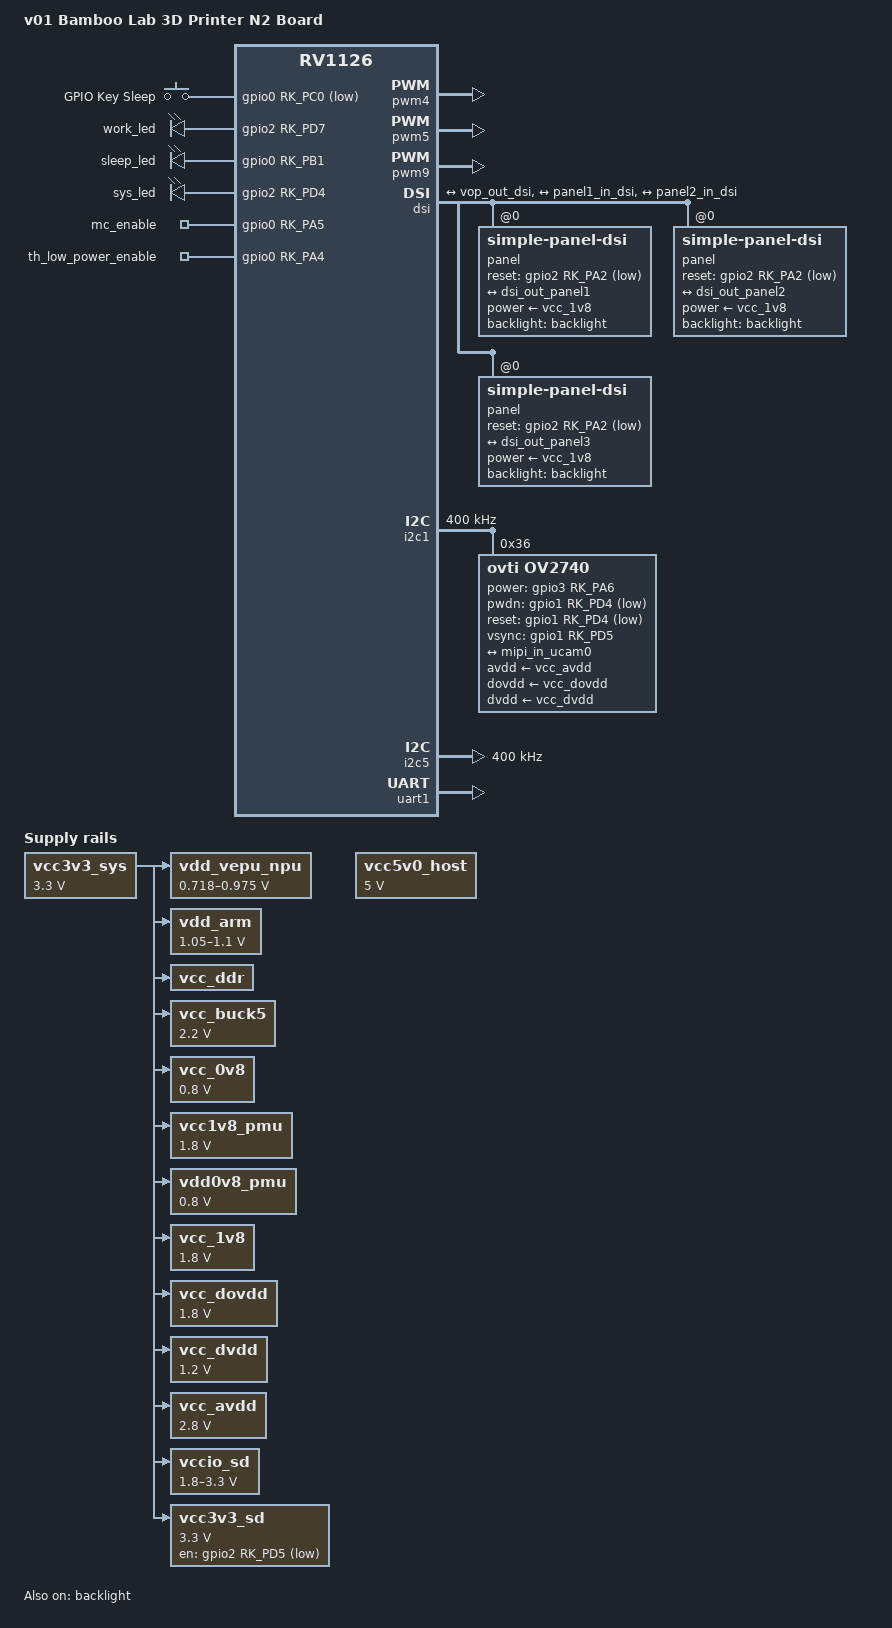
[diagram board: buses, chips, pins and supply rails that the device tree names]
// SPDX-License-Identifier: (GPL-2.0+ OR MIT)
/*
 * Copyright (c) 2020 Rockchip Electronics Co., Ltd.
 */
/dts-v1/;

/*
 * how to add a new panel
 * 		add "panel@N" node in dsi, such as panel@3
 *		  specify status = "disabled"; adc = <adc_of_version>;
 *		  specify timing3
 *		  specify port in panel@3-ports: reg = <1>(fixed)
 * 		  specify panel3_in_dsi in panel@3-ports, note!!: must match with port in dsi-ports
 *		  specify panel@3-reg = <0>(fixed, mean input device)
 *		  specify esd_power_value and esd_power_cmd, the value used in panel-simple.c
 *		add port@3 in dsi-ports
 * 		  specify reg, note!!: must different from other ports, and should be [1, 5](kernel driver only support max 5)
*/

#include "rv1126.dtsi"
#include "rv1126-n2-base.dtsi"
/ {
	model = "v01 Bamboo Lab 3D Printer N2 Board";
	compatible = "rockchip,rv1126";

	chosen {
		bootargs = "earlycon=uart8250,mmio32,0xff570000 console=ttyFIQ0 root=PARTUUID=614e0000-0000 rootfstype=ext4 rootwait snd_aloop.index=7 board=N2 hw=v1";
	};

	gpio-keys {
		compatible = "gpio-keys";
		#address-cells = <1>;
		#size-cells = <0>;

		sleep {
			gpios = <&gpio0 RK_PC0 GPIO_ACTIVE_LOW>;
			linux,code = <KEY_SLEEP>;
			label = "GPIO Key Sleep";
			linux,input-type = <1>;
			gpio-key,wakeup = <1>;
			debounce-interval = <100>;
			pinctrl-names = "default";
			pinctrl-0 = <&sleep_pin>;
		};
	};

	gpio-leds {
		compatible = "gpio-leds";

		work_led {
			gpios = <&gpio2 RK_PD7 GPIO_ACTIVE_HIGH>;
			linux,default-trigger = "timer";
		};

		sleep_led {
			gpios = <&gpio0 RK_PB1 GPIO_ACTIVE_HIGH>;
			linux,default-trigger = "none";
		};

		sys_led {
			gpios = <&gpio2 RK_PD4 GPIO_ACTIVE_HIGH>;
			linux,default-trigger = "none";
		};

		mc_enable {
			gpios = <&gpio0 RK_PA5 GPIO_ACTIVE_HIGH>;
			linux,default-trigger = "none";
		};

		th_low_power_enable {
			gpios = <&gpio0 RK_PA4 GPIO_ACTIVE_HIGH>;
			linux,default-trigger = "none";
		};
	};

	vdd_vepu_npu: vdd_vepus_npu {
		status = "okay";
		compatible = "pwm-regulator";
		rockchip,pwm_id = <4>;
		rockchip,pwm_voltage = <975000>; 	// 0.824V, used in uboot stage
		pwms = <&pwm4 0 25000 1>;			// pwm_id, channel, cycle(ns), polarity
		regulator-name = "vdd_vepu_npu";
		regulator-min-microvolt = <718000>; // 0.718V
		regulator-max-microvolt = <975000>; // 0.975V
		regulator-init-microvolt = <975000>;
		regulator-always-on;
		regulator-boot-on;
		pwm-supply = <&vcc3v3_sys>;
	};

	vdd_arm: vdd_arm {
		status = "okay";
		compatible = "pwm-regulator";
		rockchip,pwm_voltage = <1100000>;
		pwms = <&pwm5 0 25000 1>;
		regulator-name = "vdd_arm";
		regulator-min-microvolt = <1050000>;
		regulator-max-microvolt = <1100000>;
		regulator-init-microvolt = <1100000>;
		regulator-always-on;
		regulator-boot-on;
		pwm-supply = <&vcc3v3_sys>;
	};

	vcc_ddr: vcc_ddr {
		status = "okay";
		compatible = "regulator-fixed";
		regulator-name = "vcc_ddr";
		regulator-always-on;
		regulator-boot-on;
		// regulator-min-microvolt = <5000000>; // not set in p001-v3
		// regulator-max-microvolt = <5000000>;
		vin-supply = <&vcc3v3_sys>;
	};

	vcc3v3_sys: vcc3v3_sys {
		status = "okay";
		compatible = "regulator-fixed";
		regulator-name = "vcc3v3_sys";
		regulator-always-on;
		regulator-boot-on;
		regulator-min-microvolt = <3300000>;
		regulator-max-microvolt = <3300000>;
	};

	vcc_buck5: vcc_buck5 {
		status = "okay";
		compatible = "regulator-fixed";
		regulator-name = "vcc_buck5";
		regulator-always-on;
		regulator-boot-on;
		regulator-min-microvolt = <2200000>;
		regulator-max-microvolt = <2200000>;
		vin-supply = <&vcc3v3_sys>;
	};

	vcc_0v8: vcc_0v8 {
		status = "okay";
		compatible = "regulator-fixed";
		regulator-name = "vcc_0v8";
		regulator-always-on;
		regulator-boot-on;
		regulator-min-microvolt = <800000>;
		regulator-max-microvolt = <800000>;
		vin-supply = <&vcc3v3_sys>;
	};

	vcc1v8_pmu: vcc1v8_pmu {
		status = "okay";
		compatible = "regulator-fixed";
		regulator-name = "vcc1v8_pmu";
		regulator-always-on;
		regulator-boot-on;
		regulator-min-microvolt = <1800000>;
		regulator-max-microvolt = <1800000>;
		vin-supply = <&vcc3v3_sys>;
	};

	vdd0v8_pmu: vdd0v8_pmu {
		status = "okay";
		compatible = "regulator-fixed";
		regulator-name = "vdd0v8_pmu";
		regulator-always-on;
		regulator-boot-on;
		regulator-min-microvolt = <800000>;
		regulator-max-microvolt = <800000>;
		vin-supply = <&vcc3v3_sys>;
	};

	vcc_1v8: vcc_1v8 {
		status = "okay";
		compatible = "regulator-fixed";
		regulator-name = "vcc_1v8";
		regulator-always-on;
		regulator-boot-on;
		regulator-min-microvolt = <1800000>;
		regulator-max-microvolt = <1800000>;
		vin-supply = <&vcc3v3_sys>;
	};

	vcc_dovdd: vcc_dovdd {
		status = "okay";
		compatible = "regulator-fixed";
		regulator-name = "vcc_dovdd";
		regulator-always-on;
		regulator-boot-on;
		regulator-min-microvolt = <1800000>;
		regulator-max-microvolt = <1800000>;
		vin-supply = <&vcc3v3_sys>;
	};

	vcc_dvdd: vcc_dvdd {
		status = "okay";
		compatible = "regulator-fixed";
		regulator-name = "vcc_dvdd";
		regulator-always-on;
		regulator-boot-on;
		regulator-min-microvolt = <1200000>;
		regulator-max-microvolt = <1200000>;
		vin-supply = <&vcc3v3_sys>;
	};

	vcc_avdd: vcc_avdd {
		status = "okay";
		compatible = "regulator-fixed";
		regulator-name = "vcc_avdd";
		regulator-always-on;
		regulator-boot-on;
		regulator-min-microvolt = <2800000>;
		regulator-max-microvolt = <2800000>;
		vin-supply = <&vcc3v3_sys>;
	};

	vccio_sd: vccio_sd {
		status = "okay";
		compatible = "regulator-gpio";
		regulator-name = "vccio_sd";
		regulator-min-microvolt = <1800000>;
		regulator-max-microvolt = <3300000>;
		gpios = <&gpio3 RK_PA7 GPIO_ACTIVE_HIGH>;
		states = <3300000 0
			  1800000 1>;
		vin-supply = <&vcc3v3_sys>;
	};

	vcc3v3_sd: vcc3v3_sd {
		status = "okay";
		compatible = "regulator-fixed";
		gpio = <&gpio2 RK_PD5 GPIO_ACTIVE_LOW>;
		pinctrl-names = "default";
		pinctrl-0 = <&sdmmc_pwr>;
		regulator-name = "vcc3v3_sd";
		regulator-min-microvolt = <3300000>;
		regulator-max-microvolt = <3300000>;
		startup-delay-us = <100000>;
		vin-supply = <&vcc3v3_sys>;
	};

	vcc5v0_host: vcc5v0_host {
		status = "okay";
		compatible = "regulator-fixed";
		regulator-name = "vcc5v0_host";
		regulator-always-on;
		regulator-boot-on;
		regulator-min-microvolt = <5000000>;
		regulator-max-microvolt = <5000000>;
	};

	vcc_3v3: vcc_3v3 {
		status = "okay";
		regulator-always-on;
		regulator-boot-on;
		regulator-name = "vcc_3v3";
		vin-supply = <&vcc3v3_sys>;
	};
};

&pinctrl {
	lcd_rst {
		lcd_rst_gpio: lcd-rst-gpio {
			rockchip,pins = <2 RK_PA2 RK_FUNC_GPIO &pcfg_pull_none>;
		};
	};

	touth_panel {
		pinctrl_tlsc6x: pinctrl_tlsc6x {
			rockchip,pins =
				/* tp rst */
				<2 RK_PB2 RK_FUNC_GPIO &pcfg_pull_up>,
				/* tp int */
				<0 RK_PB5 RK_FUNC_GPIO &pcfg_pull_up>;
		};
	};

	buttons {
		sleep_pin: sleep_pin {
			rockchip,pins = <0 RK_PC0 RK_FUNC_GPIO &pcfg_pull_up>;
		};
	};

	leds {
		work_led_pin: work_led_pin {
			rockchip,pins = <2 RK_PD7 RK_FUNC_GPIO &pcfg_pull_down>;
		};

		sleep_led_pin: sleep_led_pin{
			rockchip,pins = <0 RK_PB1 RK_FUNC_GPIO &pcfg_pull_down>;
		};

		sys_led_pin: sys_led_pin {
			rockchip,pins = <2 RK_PD4 RK_FUNC_GPIO &pcfg_pull_down>;
		};

		vccio_sd_ctrl: vccio_sd_ctrl{
			rockchip,pins = <3 RK_PA7 RK_FUNC_GPIO &pcfg_pull_up>;
		};
	};

	sdmmc-pwr {
		/omit-if-no-ref/
		sdmmc_pwr: sdmmc-pwr {
			rockchip,pins = <2 RK_PD5 RK_FUNC_GPIO &pcfg_pull_none>;
		};
	};

	mcu_ctrls {
		mc_enable_pin: mc_enable_pin{
			rockchip,pins = <0 RK_PA5 RK_FUNC_GPIO &pcfg_pull_down>;
		};

		th_low_power_enable_pin: th_low_power_enable_pin{
			rockchip,pins = <0 RK_PA4 RK_FUNC_GPIO &pcfg_pull_down>;
		};
	};
};

&pwm4 {
	status = "okay";
	pinctrl-names = "active";
	pinctrl-0 = <&pwm4m0_pins_pull_down>;
};

&pwm5 {
	status = "okay";
	pinctrl-names = "active";
	pinctrl-0 = <&pwm5m0_pins_pull_down>;
};

&pwm9 {
	status = "okay";
	pinctrl-names = "active";
	pinctrl-0 = <&pwm9m1_pins_pull_down>;
};

&backlight {
	status = "okay";
	default-on;
	// compatible = "gpio-backlight";
	// gpios = <&gpio2 RK_PA7 GPIO_ACTIVE_LOW>;
	compatible = "pwm-backlight";
	pwms = <&pwm9 0 25000 0>;
	pwm-names = "backlight";
	enable-gpios = <&gpio1 RK_PD7 GPIO_ACTIVE_HIGH>;
};

&dsi {
	status = "okay";

	rockchip,lane-rate = <480>;

	panel@1 {
		status = "okay";
		tp-node = <&tlsc6x_ts>;
		id-regs-len = <3>;
		id-regs = <0xda 0xdb 0xdc>;
		id-targets = <0xab 0xcd 0xef>; // fake
		adc = <853>;			// 1.5v = 853
		esd_power_value = <0>; // todo
		esd_power_cmd = <0>;   // todo
		compatible = "simple-panel-dsi";
		reg = <0>;
		backlight = <&backlight>;
		power-supply = <&vcc_1v8>;
		prepare-delay-ms = <5>;
		reset-delay-ms = <1>;
		init-delay-ms = <120>;
		disable-delay-ms = <10>;
		unprepare-delay-ms = <5>;

		reset-gpios = <&gpio2 RK_PA2 GPIO_ACTIVE_LOW>;
		pinctrl-names = "default";
		pinctrl-0 = <&lcd_rst_gpio>;

		width-mm = <62>;
		height-mm = <110>;

		dsi,flags = <(MIPI_DSI_MODE_VIDEO | MIPI_DSI_MODE_VIDEO_BURST |
				  MIPI_DSI_MODE_LPM | MIPI_DSI_MODE_EOT_PACKET)>;
		dsi,format = <MIPI_DSI_FMT_RGB888>;
		dsi,lanes = <2>;

		panel-init-sequence = [
			39 00 06 F0 55 aa 52 08 00
			39 00 03 F6 5A 87
			15 00 02 c1 3f
			15 00 02 c2 0e
			15 00 02 c6 f8
			15 00 02 c9 10
			15 00 02 cd 25
			39 00 04 87 04 03 66
			15 00 02 f8 8A
			15 00 02 AC 65
			15 00 02 a7 47
			15 00 02 A0 DD
			39 00 05 FA 08 08 00 00
			39 00 05 86 99 A3 A3 51
			15 00 02 A3 2e
			39 00 04 FD 28 3c 00
			15 00 02 71 48
			15 00 02 72 48
			39 00 03 73 00 04
			15 00 02 97 EE
			15 00 02 9A 68
			15 00 02 9B 38
			39 00 03 82 40 40
			15 00 02 B1 10
			39 00 03 7A 13 1a
			39 00 03 7B 13 1a
			39 00 21 6d 00 1D 10 0F 08 1F 1E 1e 1e 1e 1e 1e 1e 1e 1e 1e 1e 1e 1e 1e 1e 1e 1e 1e 1e 1E 1F 01 0A 09 1D 00
			39 00 09 60 18 05 2E 7A 18 02 2E 7A
			39 00 09 63 18 02 2E 7A 18 04 2E 7A
			39 00 11 64 18 04 03 58 03 03 18 02 03 5A 03 03 2E 7A 2E 7A
			39 00 11 67 18 01 03 5B 03 03 18 03 03 59 03 03 2E 7A 2E 7A
			39 00 08 69 14 22 14 22 44 22 08
			39 00 35 D1 00 00 00 20 00 53 00 76 00 93 00 C0 00 E5 01 1E 01 4D 01 98 01 D4 02 32 02 7E 02 80 02 C5 03 11 03 40 03 82 03 A5 03 BC 03 CB 03 DF 03 E9 03 F6 03 FD 03 FF
			39 00 35 D2 00 00 00 20 00 53 00 76 00 93 00 C0 00 E5 01 1E 01 4D 01 98 01 D4 02 32 02 7E 02 80 02 C5 03 11 03 40 03 82 03 A5 03 BC 03 CB 03 DF 03 E9 03 F6 03 FD 03 FF
			39 00 35 D3 00 00 00 20 00 53 00 76 00 93 00 C0 00 E5 01 1E 01 4D 01 98 01 D4 02 32 02 7E 02 80 02 C5 03 11 03 40 03 82 03 A5 03 BC 03 CB 03 DF 03 E9 03 F6 03 FD 03 FF
			39 00 35 D4 00 00 00 20 00 53 00 76 00 93 00 C0 00 E5 01 1E 01 4D 01 98 01 D4 02 32 02 7E 02 80 02 C5 03 11 03 40 03 82 03 A5 03 BC 03 CB 03 DF 03 E9 03 F6 03 FD 03 FF
			39 00 35 D5 00 00 00 20 00 53 00 76 00 93 00 C0 00 E5 01 1E 01 4D 01 98 01 D4 02 32 02 7E 02 80 02 C5 03 11 03 40 03 82 03 A5 03 BC 03 CB 03 DF 03 E9 03 F6 03 FD 03 FF
			39 00 35 D6 00 00 00 20 00 53 00 76 00 93 00 C0 00 E5 01 1E 01 4D 01 98 01 D4 02 32 02 7E 02 80 02 C5 03 11 03 40 03 82 03 A5 03 BC 03 CB 03 DF 03 E9 03 F6 03 FD 03 FF
			05 78 01 11
			05 64 01 29
			];

		panel-exit-sequence = [
			39 00 06 F0 55 aa 52 08 00
			23 00 03 F6 5a 87
			23 00 02 C2 ce
			23 00 02 C3 cd
			23 00 02 C6 fc
			23 00 02 C5 03
			23 00 02 CD 64
			23 00 02 C4 ff
			23 00 02 C9 cd
			23 14 02 6C 60
			23 00 02 B1 00
			39 14 05 FA 7F 00 00 00
			23 0A 02 6C 50
			23 32 02 28 00
			23 14 02 10 00
			23 00 04 FD aa aa 0a
			23 00 03 FE 6a 0a
			23 00 03 78 2a aa
			23 00 03 92 17 08
			23 00 03 77 aa 2a
			23 00 03 76 aa aa
			23 00 02 84 00
			23 00 03 78 2b ba
			23 00 02 89 73
			23 00 02 88 3A
			23 00 02 85 B0
			23 00 03 76 eb aa
			23 00 02 94 80
			23 00 04 87 04 07 30
			23 00 02 93 27
			23 00 02 AF 02
			];

		display-timings {
			native-mode = <&timing1>;

			timing1: timing1 {
				clock-frequency = <29007000>;
				hactive = <480>;
				vactive = <854>;
				hfront-porch = <30>;
				hsync-len = <10>;
				hback-porch = <30>;
				vfront-porch = <8>;
				vsync-len = <2>;
				vback-porch = <15>;
				hsync-active = <0>;
				vsync-active = <0>;
				de-active = <0>;
				pixelclk-active = <0>;
			};
		};

		ports {
			#address-cells = <1>;
			#size-cells = <0>;

			port@1 {
				reg = <1>;
				panel1_in_dsi: endpoint {
					remote-endpoint = <&dsi_out_panel1>;
				};
			};
		};
	};

	panel@2 {
		status = "okay";
		tp-node = <&tlsc6x_ts>;
		id-regs-len = <3>;
		id-regs = <0xda 0xdb 0xdc>;
		id-targets = <0xab 0xcd 0xef>; // fake
		adc = <1024>;				// 1.8v = 1024
		esd_power_value = <0>; // todo
		esd_power_cmd = <0>;   // todo
		compatible = "simple-panel-dsi";
		reg = <0>;
		backlight = <&backlight>;
		power-supply = <&vcc_1v8>;
		prepare-delay-ms = <5>;
		reset-delay-ms = <1>;
		init-delay-ms = <120>;
		disable-delay-ms = <10>;
		unprepare-delay-ms = <5>;

		reset-gpios = <&gpio2 RK_PA2 GPIO_ACTIVE_LOW>;
		pinctrl-names = "default";
		pinctrl-0 = <&lcd_rst_gpio>;

		width-mm = <62>;
		height-mm = <110>;

		dsi,flags = <(MIPI_DSI_MODE_VIDEO | MIPI_DSI_MODE_VIDEO_BURST |
				  MIPI_DSI_MODE_LPM | MIPI_DSI_MODE_EOT_PACKET)>;
		dsi,format = <MIPI_DSI_FMT_RGB888>;
		dsi,lanes = <2>;

		panel-init-sequence = [
			39 00 06 FF 77 01 00 00 13
			15 00 02 EF 08
			39 00 06 FF 77 01 00 00 10
			39 00 03 C0 E9 03
			39 00 03 C1 11 02
			39 00 03 C2 07 06
			15 00 02 CC 18
			39 00 11 B0 00 0D 14 0D 10 05 02 08 08 1E 05 13 11 A3 29 18
			39 00 11 B1 00 0C 14 0C 10 05 03 08 07 20 05 13 11 A4 29 18
			39 00 06 FF 77 01 00 00 11
			15 00 02 B0 6C
			15 00 02 B1 4D
			15 00 02 B2 89
			15 00 02 B3 80
			15 00 02 B5 4E
			15 00 02 B7 85
			15 00 02 B8 20
			39 00 03 B9 00 13
			15 00 02 C0 09
			15 00 02 C1 78
			15 00 02 C2 78
			15 0A 02 D0 88
			39 00 04 E0 00 00 02
			39 00 0C E1 08 00 0A 00 07 00 09 00 00 33 33
			39 00 0E E2 00 00 00 00 00 00 00 00 00 00 00 00 00
			39 00 05 E3 00 00 33 33
			39 00 03 E4 44 44
			39 00 11 E5 0E 60 A0 A0 10 60 A0 A0 0A 60 A0 A0 0C 60 A0 A0
			39 00 05 E6 00 00 33 33
			39 00 03 E7 44 44
			39 00 11 E8 0D 60 A0 A0 0F 60 A0 A0 09 60 A0 A0 0B 60 A0 A0
			39 00 08 EB 02 01 E4 E4 44 00 40
			39 00 03 EC 02 01
			39 00 11 ED AB 89 76 54 01 FF FF FF FF FF FF 10 45 67 98 BA
			39 00 07 EF 08 08 08 45 3F 54
			39 00 06 FF 77 01 00 00 13
			39 00 03 E8 00 0E
			39 00 06 FF 77 01 00 00 00
			05 78 01 11
			39 00 06 FF 77 01 00 00 13
			39 0A 03 E8 00 0C
			39 00 03 E8 00 00
			39 00 06 FF 77 01 00 00 00
			05 00 01 29
			05 78 01 11
			05 64 01 29
			];

		panel-exit-sequence = [
			05 14 01 28
			05 32 01 10
		];

		display-timings {
			native-mode = <&timing2>;

			timing2: timing2 {
				clock-frequency = <28000000>; // 28M
				hactive = <480>;	 // HAdr
				vactive = <854>;	 // VAdr
				hfront-porch = <16>; // HFP
				hsync-len = <8>;
				hback-porch = <16>;  // HBP
				vfront-porch = <20>; // VFP
				vsync-len = <8>;
				vback-porch = <20>;  // VBP
				hsync-active = <0>;
				vsync-active = <0>;
				de-active = <0>;
				pixelclk-active = <0>;
			};
		};

		ports {
			#address-cells = <1>;
			#size-cells = <0>;

			port@2 {
				reg = <1>;
				panel2_in_dsi: endpoint {
					remote-endpoint = <&dsi_out_panel2>;
				};
			};
		};
	};

	panel@3 {
		status = "okay";
		tp-node = <&tlsc6x_ts>;
		id-regs-len = <3>;
		id-regs = <0xda 0xdb 0xdc>;
		id-targets = <0xab 0xcd 0xef>; // fake
		adc = <341>;				// 0.6v = 341
		esd_power_value = <0>; // todo
		esd_power_cmd = <0>;   // todo
		compatible = "simple-panel-dsi";
		reg = <0>;
		backlight = <&backlight>;
		power-supply = <&vcc_1v8>;
		prepare-delay-ms = <5>;
		reset-delay-ms = <1>;
		init-delay-ms = <120>;
		disable-delay-ms = <10>;
		unprepare-delay-ms = <5>;

		reset-gpios = <&gpio2 RK_PA2 GPIO_ACTIVE_LOW>;
		pinctrl-names = "default";
		pinctrl-0 = <&lcd_rst_gpio>;

		width-mm = <62>;
		height-mm = <110>;

		dsi,flags = <(MIPI_DSI_MODE_VIDEO | MIPI_DSI_MODE_VIDEO_BURST |
				  MIPI_DSI_MODE_LPM | MIPI_DSI_MODE_EOT_PACKET)>;
		dsi,format = <MIPI_DSI_FMT_RGB888>;
		dsi,lanes = <2>;

		panel-init-sequence = [
			39 00 06 F0 55 AA 52 08 00
			39 00 03 F6 5A 87
			15 00 02 C1 3F
			15 00 02 C9 10
			15 00 02 CD 25
			15 00 02 AC 45
			15 00 02 F8 8A
			15 00 02 A7 47
			15 00 02 A0 FF
			39 00 05 86 99 A3 A3 61
			39 00 05 FA 08 08 00 04
			15 00 02 A3 6E
			39 00 04 FD 28 3C 00
			15 00 02 9A C0
			15 00 02 9B 40
			39 00 03 82 3E 3E
			15 00 02 B1 90
			39 00 03 7A 0F 13
			39 00 03 7B 0F 13
			15 00 02 6B 07
			39 00 08 69 14 22 14 22 44 22 08

			39 00 21 6D 00 1F 19 1A 0C 0A 10 0E 02 08 1E 1E 1E 1E 1E 1E 1E 1E 1E 1E 1E 1E 07 01 0D 0F 09 0B 1A 19 1F 00
			39 00 09 60 28 0C 7a 7a 28 0B 7a 7a
			39 00 09 63 28 0A 7a 7a 28 09 7a 7A
			39 00 11 64 28 08 03 5f 03 03 28 07 03 5F 03 03 7A 7A 7A 7A
			39 00 11 65 28 06 03 60 03 03 28 05 03 61 03 03 7A 7A 7A 7A
			39 00 11 66 28 04 03 62 03 03 28 03 03 63 03 03 7A 7A 7A 7A
			39 00 11 67 28 02 03 64 03 03 28 01 03 65 03 03 7A 7A 7A 7A
			39 00 0E 68 00 08 1B 08 1A 68 68 08 1B 08 1A 68 68

			39 00 35 D1 00 00 00 15 00 5F 00 7B 00 99 00 C1 00 E5 01 1D 01 47 01 95 01 D1 02 30 02 7D 02 7F 02 C6 03 15 03 47 03 8A 03 A8 03 BA 03 CA 03 DD 03 E0 03 EB 03 F0 03 FF
			39 00 35 D2 00 00 00 15 00 5F 00 7B 00 99 00 C1 00 E5 01 1D 01 47 01 95 01 D1 02 30 02 7D 02 7F 02 C6 03 15 03 47 03 8A 03 A8 03 BA 03 CA 03 DD 03 E0 03 EB 03 F0 03 FF
			39 00 35 D3 00 00 00 15 00 5F 00 7B 00 99 00 C1 00 E5 01 1D 01 47 01 95 01 D1 02 30 02 7D 02 7F 02 C6 03 15 03 47 03 8A 03 A8 03 BA 03 CA 03 DD 03 E0 03 EB 03 F0 03 FF
			39 00 35 D4 00 00 00 15 00 5F 00 7B 00 99 00 C1 00 E5 01 1D 01 47 01 95 01 D1 02 30 02 7D 02 7F 02 C6 03 15 03 47 03 8A 03 A8 03 BA 03 CA 03 DD 03 E0 03 EB 03 F0 03 FF
			39 00 35 D5 00 00 00 15 00 5F 00 7B 00 99 00 C1 00 E5 01 1D 01 47 01 95 01 D1 02 30 02 7D 02 7F 02 C6 03 15 03 47 03 8A 03 A8 03 BA 03 CA 03 DD 03 E0 03 EB 03 F0 03 FF
			39 00 35 D6 00 00 00 15 00 5F 00 72 00 99 00 C1 00 E5 01 1D 01 47 01 95 01 D1 02 30 02 7D 02 7F 02 C7 03 15 03 47 03 8A 03 A8 03 BA 03 CA 03 DD 03 E0 03 EB 03 F0 03 FF

			05 78 01 11
			05 00 01 29
			05 00 01 2C
		];

		panel-exit-sequence = [
			05 14 01 28
			05 32 01 10
		];

		display-timings {
			native-mode = <&timing3>;

			timing3: timing3 {
				clock-frequency = <29000000>; // 29M
				hactive = <480>;	 // HAdr
				vactive = <854>;	 // VAdr
				hfront-porch = <25>; // HFP
				hsync-len = <10>;	 // HS
				hback-porch = <20>;  // HBP
				vfront-porch = <12>; // VFP
				vsync-len = <8>;     // VS
				vback-porch = <24>;  // VBP
				hsync-active = <0>;
				vsync-active = <0>;
				de-active = <0>;
				pixelclk-active = <0>;
			};
		};

		ports {
			#address-cells = <1>;
			#size-cells = <0>;

			port@2 {
				reg = <1>;
				panel3_in_dsi: endpoint {
					remote-endpoint = <&dsi_out_panel3>;
				};
			};
		};
	};

	ports {
		#address-cells = <1>;
		#size-cells = <0>;

		port {
			dsi_in_vop: endpoint {
				remote-endpoint = <&vop_out_dsi>;
			};
		};

		port@1 {
			reg = <1>;
			dsi_out_panel1: endpoint {
				remote-endpoint = <&panel1_in_dsi>;
			};
		};

		port@2 {
			reg = <2>;
			dsi_out_panel2: endpoint {
				remote-endpoint = <&panel2_in_dsi>;
			};
		};

		port@3 {
			reg = <3>;
			dsi_out_panel3: endpoint {
				remote-endpoint = <&panel3_in_dsi>;
			};
		};
	};
};

&i2c1 {
	status = "okay";
	clock-frequency = <400000>;

	ov2740: ov2740@36 {
		#address-cells = <1>;
		#size-cells = <1>;
		compatible = "ovti,ov2740";
		reg = <0x36>;

		clocks = <&cru CLK_MIPICSI_OUT>;
		clock-names = "xvclk";

		power-domains = <&power RV1126_PD_VI>;
		pinctrl-names = "rockchip,camera_default";
		pinctrl-0 = <&mipicsi_clk0>;
		power-gpios = <&gpio3 RK_PA6 GPIO_ACTIVE_HIGH>;
		pwdn-gpios = <&gpio1 RK_PD4 GPIO_ACTIVE_LOW>;
		reset-gpios = <&gpio1 RK_PD4 GPIO_ACTIVE_LOW>;
		vsync-gpios = <&gpio1 RK_PD5 GPIO_ACTIVE_HIGH>;

		avdd-supply = <&vcc_avdd>;
		dovdd-supply = <&vcc_dovdd>;
		dvdd-supply = <&vcc_dvdd>;

		rockchip,camera-module-index = <0>;
		rockchip,camera-module-facing = "front";
		rockchip,camera-module-name = "YT-RV1109-2-V1";
		rockchip,camera-module-lens-name = "40IR-2MP-F20";
		port {
			reg = <0x7010 0x100>;
			ucam_out0: endpoint {
				remote-endpoint = <&mipi_in_ucam0>;
				data-lanes = <1 2>;
			};
		};
	};
};

&i2c5 {
	status = "okay";
	pinctrl-0 = <&i2c5m2_xfer>;
	clock-frequency = <400000>;

	tlsc6x_ts: tlsc6x_ts@2e {
		status = "disa";
		compatible = "tlsc6x,tlsc6x_ts";
		reg = <0x2e>;
		pinctrl-names = "default";
		pinctrl-0 = <&pinctrl_tlsc6x>;
		tlsc6x,irq-gpio = <&gpio0 RK_PB5 IRQ_TYPE_EDGE_FALLING>;
		tlsc6x,reset-gpio = <&gpio2 RK_PB2 GPIO_ACTIVE_LOW>;
		TP_MAX_X = <480>;
		TP_MAX_Y = <854>;
	};
};

&uart1 {
	status = "okay";
	pinctrl-names = "default";
	dma-names = "tx", "rx";
	pinctrl-0 = <&uart1m0_xfer>;
};
